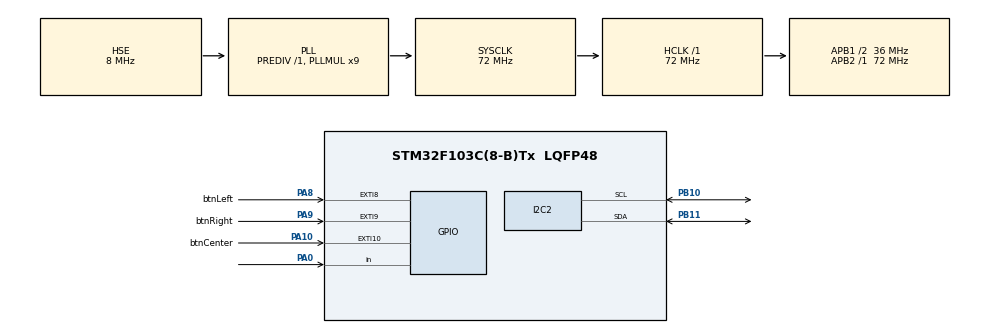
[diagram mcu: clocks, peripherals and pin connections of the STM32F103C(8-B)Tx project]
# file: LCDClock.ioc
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Mcu.Family=STM32F1
Mcu.Name=STM32F103C(8-B)Tx
Mcu.Package=LQFP48
NVIC.EXTI15_10_IRQn=true\:0\:0\:false\:false\:true\:true
NVIC.EXTI9_5_IRQn=true\:0\:0\:false\:false\:true\:true
NVIC.PriorityGroup=NVIC_PRIORITYGROUP_4
PA0-WKUP.Signal=GPIO_Input
PA10.GPIO_Label=btnCenter
PA10.GPIO_PuPd=GPIO_PULLUP
PA10.Signal=GPXTI10
PA13.Mode=Serial_Wire
PA13.Signal=SYS_JTMS-SWDIO
PA14.Mode=Serial_Wire
PA14.Signal=SYS_JTCK-SWCLK
PA8.GPIO_Label=btnLeft
PA8.GPIO_PuPd=GPIO_PULLUP
PA8.Signal=GPXTI8
PA9.GPIO_Label=btnRight
PA9.GPIO_PuPd=GPIO_PULLUP
PA9.Signal=GPXTI9
PB10.Mode=I2C
PB10.Signal=I2C2_SCL
PB11.Mode=I2C
PB11.Signal=I2C2_SDA
PC14-OSC32_IN.Mode=LSE-External-Oscillator
PC14-OSC32_IN.Signal=RCC_OSC32_IN
PC15-OSC32_OUT.Mode=LSE-External-Oscillator
PC15-OSC32_OUT.Signal=RCC_OSC32_OUT
PD0-OSC_IN.Mode=HSE-External-Oscillator
PD0-OSC_IN.Signal=RCC_OSC_IN
PD1-OSC_OUT.Mode=HSE-External-Oscillator
PD1-OSC_OUT.Signal=RCC_OSC_OUT
ProjectManager.HeapSize=0x200
ProjectManager.StackSize=0x400
ProjectManager.TargetToolchain=MDK-ARM V5
RCC.AHBFreq_Value=72000000
RCC.APB1CLKDivider=RCC_HCLK_DIV2
RCC.APB1Freq_Value=36000000
RCC.APB1TimFreq_Value=72000000
RCC.APB2Freq_Value=72000000
RCC.APB2TimFreq_Value=72000000
RCC.HCLKFreq_Value=72000000
RCC.PLLMUL=RCC_PLL_MUL9
RCC.PLLSourceVirtual=RCC_PLLSOURCE_HSE
RCC.SYSCLKFreq_VALUE=72000000
RCC.SYSCLKSource=RCC_SYSCLKSOURCE_PLLCLK
RCC.USBFreq_Value=72000000
board=custom

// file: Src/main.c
/* USER CODE BEGIN Header */
/**
  ******************************************************************************
  * @file           : main.c
  * @brief          : Main program body
  ******************************************************************************
  ** This notice applies to any and all portions of this file
  * that are not between comment pairs USER CODE BEGIN and
  * USER CODE END. Other portions of this file, whether
  * inserted by the user or by software development tools
  * are owned by their respective copyright owners.
  *
  * COPYRIGHT(c) 2019 STMicroelectronics
  *
  * Redistribution and use in source and binary forms, with or without modification,
  * are permitted provided that the following conditions are met:
  *   1. Redistributions of source code must retain the above copyright notice,
  *      this list of conditions and the following disclaimer.
  *   2. Redistributions in binary form must reproduce the above copyright notice,
  *      this list of conditions and the following disclaimer in the documentation
  *      and/or other materials provided with the distribution.
  *   3. Neither the name of STMicroelectronics nor the names of its contributors
  *      may be used to endorse or promote products derived from this software
  *      without specific prior written permission.
  *
  * THIS SOFTWARE IS PROVIDED BY THE COPYRIGHT HOLDERS AND CONTRIBUTORS "AS IS"
  * AND ANY EXPRESS OR IMPLIED WARRANTIES, INCLUDING, BUT NOT LIMITED TO, THE
  * IMPLIED WARRANTIES OF MERCHANTABILITY AND FITNESS FOR A PARTICULAR PURPOSE ARE
  * DISCLAIMED. IN NO EVENT SHALL THE COPYRIGHT HOLDER OR CONTRIBUTORS BE LIABLE
  * FOR ANY DIRECT, INDIRECT, INCIDENTAL, SPECIAL, EXEMPLARY, OR CONSEQUENTIAL
  * DAMAGES (INCLUDING, BUT NOT LIMITED TO, PROCUREMENT OF SUBSTITUTE GOODS OR
  * SERVICES; LOSS OF USE, DATA, OR PROFITS; OR BUSINESS INTERRUPTION) HOWEVER
  * CAUSED AND ON ANY THEORY OF LIABILITY, WHETHER IN CONTRACT, STRICT LIABILITY,
  * OR TORT (INCLUDING NEGLIGENCE OR OTHERWISE) ARISING IN ANY WAY OUT OF THE USE
  * OF THIS SOFTWARE, EVEN IF ADVISED OF THE POSSIBILITY OF SUCH DAMAGE.
  *
  ******************************************************************************
  */
/* USER CODE END Header */

#include "main.h"
#include "i2c.h"
#include "gpio.h"

/* USER CODE BEGIN Includes */
#include "lcd.h"
#include "rtc.h"
#include "ds18b20.h"
#include "config.h"
#include "modeclock.h"
#include "menu.h"
/* USER CODE END Includes */

/* USER CODE BEGIN PV */
RTCDateTimeTypeDef currentTime, rtcTime;
uint8_t b[1] = {0};

volatile uint8_t btnMenuCLicked;
volatile uint8_t btnLeftCLicked;
volatile uint8_t btnRightCLicked;
/* USER CODE END PV */

void SystemClock_Config(void);

int main(void)
{

    /* MCU Configuration--------------------------------------------------------*/

    /* Reset of all peripherals, Initializes the Flash interface and the Systick. */
    HAL_Init();

    /* Configure the system clock */
    SystemClock_Config();

    /* Initialize all configured peripherals */
    MX_GPIO_Init();
    MX_I2C2_Init();
    /* USER CODE BEGIN 2 */
    LCD_Init();
    HAL_Delay(100);

    ds18b20_port_init();
    uint8_t ds18b20status = ds18b20_init(SKIP_ROM);

    uint8_t config_reg = 0b00001111;
    uint8_t config_tmp = config_reg;
    ReadConfig(&config_reg);

    InitCurrentTime(&currentTime);
    LCD_ClockInit(config_reg);

    uint8_t selectedMode = MODE_CLOCK;
    uint8_t prev_mode = MODE_CLOCK;
    uint8_t currMenuEntry = 0;
    /* USER CODE END 2 */

    /* Infinite loop */
    /* USER CODE BEGIN WHILE */

    btnMenuCLicked = 0;
    btnLeftCLicked = 0;
    btnRightCLicked = 0;
    while (1)
    {
        if (selectedMode == MODE_CLOCK)
        {
            if (ReadRTCRegisters(&rtcTime) == HAL_OK)
            {
                UpdateClock(&currentTime, &rtcTime, config_reg);
            }
            if ((config_reg & CFG_TEMP) && ds18b20status)
            {
                UpdateTemp();
            }
        }

        if (selectedMode == MODE_STOPWATCH)
        {
            //TODO mode STOPWATCH
        }

        if (selectedMode == MODE_TIMER)
        {
            //TODO mode TIMER
        }
        /* USER CODE END WHILE */

        /* USER CODE BEGIN 3 */
        // btn center clicked
        if (btnMenuCLicked)
        {
            switch (selectedMode)
            {
            case MODE_MENU:
                switch (currMenuEntry)
                {
                case MENU_CLOCK:
                    LCD_Clear();
                    InitCurrentTime(&currentTime);
                    LCD_ClockInit(config_reg);
                    selectedMode = MODE_CLOCK;
                    break;

                case MENU_STOPWATCH:
                    //TODO switch mode to stopwatch
                    selectedMode = MODE_STOPWATCH;
                    break;

                case MENU_TIMER:
                    //TODO switch mode to timer
                    break;

                case MENU_SETTINGS:
                    MenuSettingsOpen(&selectedMode, &currMenuEntry, config_reg);
                    break;
                case MENU_EXIT:
                    //TODO menu CLOSE
                    LCD_Clear();
                    selectedMode = prev_mode;
                    break;
                };
                currMenuEntry = 0;
                break;

            case MODE_SETTINGS:
                switch (currMenuEntry)
                {
                case SETTINGS_TIME:
                    //TODO open time settings menu
                    break;
                case SETTINGS_DAY:
                    //TODO update menu entry
                    config_tmp ^= CFG_DAY;
                    break;
                case SETTINGS_DATE:
                    //TODO update menu entry
                    config_tmp ^= CFG_DAY;
                    break;
                case SETTINGS_SECONDS:
                    //TODO update menu entry
                    config_tmp ^= CFG_DAY;
                    break;
                case SETTINGS_TEMP:
                    //TODO update menu entry
                    config_tmp ^= CFG_DAY;
                    break;
                case SETTINGS_SAVE:
                    config_reg = config_tmp;
                    WriteConfig(config_reg);

                    //TODO prev mode
                    LCD_Clear();
                    selectedMode = prev_mode;

                    break;
                case SETTINGS_CANCEL:
                    config_tmp = config_reg;

                    //TODO prev mode
                    LCD_Clear();
                    selectedMode = prev_mode;
                    break;
                }

                currMenuEntry = 0;
                break;

            default:
                MenuMainOpen(&prev_mode, &selectedMode, &currMenuEntry);
            }
            btnMenuCLicked = 0;
        }

        //btn Left (Up) clicked
        if (btnLeftCLicked)
        {
            switch (selectedMode)
            {
            case MODE_MENU:
                MenuMainUp(&currMenuEntry);
                break;
            case MODE_SETTINGS:
                MenuSettingsUp(&currMenuEntry);
                break;

            default:
                break;
            }
            btnLeftCLicked = 0;
        }

        //btn Right (Down) clicked
        if (btnRightCLicked)
        {
            switch (selectedMode)
            {
            case MODE_MENU:
                MenuMainDown(&currMenuEntry);
                break;
            case MODE_SETTINGS:
                MenuSettingsDown(&currMenuEntry);
                break;
            default:
                break;
            }
            btnRightCLicked = 0;
        }
    }
    /* USER CODE END 3 */
}

void SystemClock_Config(void)
{
    RCC_OscInitTypeDef RCC_OscInitStruct = {0};
    RCC_ClkInitTypeDef RCC_ClkInitStruct = {0};

    /**Initializes the CPU, AHB and APB busses clocks
  */
    RCC_OscInitStruct.OscillatorType = RCC_OSCILLATORTYPE_HSE;
    RCC_OscInitStruct.HSEState = RCC_HSE_ON;
    RCC_OscInitStruct.HSEPredivValue = RCC_HSE_PREDIV_DIV1;
    RCC_OscInitStruct.HSIState = RCC_HSI_ON;
    RCC_OscInitStruct.PLL.PLLState = RCC_PLL_ON;
    RCC_OscInitStruct.PLL.PLLSource = RCC_PLLSOURCE_HSE;
    RCC_OscInitStruct.PLL.PLLMUL = RCC_PLL_MUL9;
    if (HAL_RCC_OscConfig(&RCC_OscInitStruct) != HAL_OK)
    {
        Error_Handler();
    }
    /**Initializes the CPU, AHB and APB busses clocks
  */
    RCC_ClkInitStruct.ClockType = RCC_CLOCKTYPE_HCLK | RCC_CLOCKTYPE_SYSCLK | RCC_CLOCKTYPE_PCLK1 | RCC_CLOCKTYPE_PCLK2;
    RCC_ClkInitStruct.SYSCLKSource = RCC_SYSCLKSOURCE_PLLCLK;
    RCC_ClkInitStruct.AHBCLKDivider = RCC_SYSCLK_DIV1;
    RCC_ClkInitStruct.APB1CLKDivider = RCC_HCLK_DIV2;
    RCC_ClkInitStruct.APB2CLKDivider = RCC_HCLK_DIV1;

    if (HAL_RCC_ClockConfig(&RCC_ClkInitStruct, FLASH_LATENCY_2) != HAL_OK)
    {
        Error_Handler();
    }
}

/* USER CODE BEGIN 4 */
void HAL_GPIO_EXTI_Callback(uint16_t GPIO_Pin)
{
    if (GPIO_Pin == btnLeft_Pin)
    {
        if (!btnLeftCLicked)
        {
            btnLeftCLicked = 1;
        }
    };

    if (GPIO_Pin == btnRight_Pin)
    {
        if (!btnRightCLicked)
        {
            btnRightCLicked = 1;
        }
    }

    if (GPIO_Pin == btnCenter_Pin)
    {
        if (!btnMenuCLicked)
        {
            btnMenuCLicked = 1;
        }
    }
}
/* USER CODE END 4 */

void Error_Handler(void)
{
}

/************************ (C) COPYRIGHT STMicroelectronics *****END OF FILE****/
